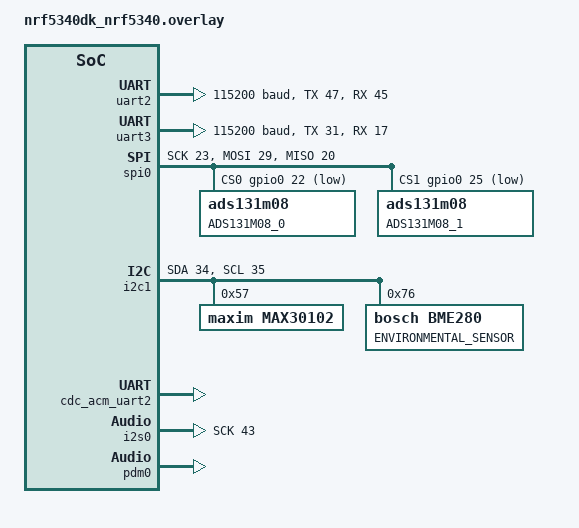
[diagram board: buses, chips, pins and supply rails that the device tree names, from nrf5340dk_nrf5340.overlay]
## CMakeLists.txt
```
# SPDX-License-Identifier: Apache-2.0

cmake_minimum_required(VERSION 3.17.0)

set(DTC_OVERLAY_FILE "nrf5340dk_nrf5340.overlay")

find_package(Zephyr REQUIRED HINTS $ENV{ZEPHYR_BASE})
project(hello_world)

FILE(GLOB app_sources src/*.c*)
target_sources(app PRIVATE ${app_sources})

target_include_directories(app PRIVATE
    include
    include/Transports)

set_property(TARGET app PROPERTY CXX_STANDARD 17)    
```

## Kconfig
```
# SPDX-License-Identifier: Proprietary

mainmenu "Application"

    config NUM_TLCS
        int "Number of chained TLC drivers"
        default 1
        range 1 8

    config UART_RX_TX_BUF_SZ
        int "The size of RP2040 UART RX buffer"
        default 32
        range 1 256

    config UART_RX_TOUT_US
        int "UART RX timeout in milliseconds"
        default 100000

    config USE_ADS131M08
        bool "Include the ADS131M08 sensors in compilation"
        default n

    config USE_BME280
        bool "Include the BME280 sensor in compilation"
        default n
        select USE_USB
        select SENSOR
        select BME280      

    config USE_MAX30102
        bool "Include the MAX30102 sensor in compilation"
        default n
        select USE_USB

    config USE_MPU6050
        bool "Include the MPU6050 sensor in compilation"
        default n
        select USE_USB 

    config USE_QMC5883L
        bool "Include the QMC5883L sensor in compilation"
        default n  
        select USE_USB

    config USE_TLC5940
        bool "Include the TLC5940 sensor in compilation"
        default n

    config USE_DMIC
        bool "Include the Digital Microphone in compilation"
        default n  

    config USE_I2S
        bool "Include the I2S driver for controlling MAX98357A Class D audio amplifier"
        default n          

    config USE_USB
        bool "Include the USB driver for sending sensor samples over USB"
        default n 

    config USE_MCU2MCU
        bool "Include the UART driver for communication with RP2040"
        default n    

source "Kconfig.zephyr"
```

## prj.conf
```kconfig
CONFIG_INIT_STACKS=y
CONFIG_THREAD_STACK_INFO=y
CONFIG_MAIN_STACK_SIZE=2048
CONFIG_SYSTEM_WORKQUEUE_STACK_SIZE=4096
CONFIG_BT_RX_STACK_SIZE=4096

# PWM
#CONFIG_PWM=y
#CONFIG_PWM_NRF5_SW=n
#CONFIG_PWM_NRFX=y

CONFIG_GPIO=y
CONFIG_I2C=y
CONFIG_SPI=y
#CONFIG_SPI_0=y

# choose UART console
CONFIG_UART_CONSOLE=y

# Debug config
CONFIG_LOG=y
CONFIG_LOG_DEFAULT_LEVEL=3
# RTT Viewer
CONFIG_USE_SEGGER_RTT=y
CONFIG_LOG_BACKEND_RTT=y
CONFIG_RTT_CONSOLE=y
CONFIG_SEGGER_RTT_BUFFER_SIZE_UP=4096
#CONFIG_LOG_BACKEND_RTT_MODE_DROP=y
CONFIG_LOG_PRINTK=y

# BLE
CONFIG_BT=y
#CONFIG_BT_DEBUG_LOG=y
CONFIG_BT_PERIPHERAL=y
CONFIG_BT_CENTRAL=y
CONFIG_BT_DEVICE_NAME="BT40"
CONFIG_BT_GATT_CLIENT=y
CONFIG_BT_HCI_ACL_FLOW_CONTROL=y
CONFIG_BT_USER_PHY_UPDATE=y
CONFIG_BT_CTLR_PHY_2M=y
CONFIG_BT_CTLR_PHY_CODED=n
CONFIG_BT_ATT_PREPARE_COUNT=10
CONFIG_BT_CONN_TX_MAX=10
CONFIG_BT_L2CAP_TX_BUF_COUNT=10
CONFIG_BT_BUF_ACL_TX_SIZE=250
CONFIG_BT_BUF_ACL_RX_SIZE=250
CONFIG_BT_L2CAP_TX_MTU=250

# C++
CONFIG_CPLUSPLUS=y
CONFIG_LIB_CPLUSPLUS=y
CONFIG_NEWLIB_LIBC=y
#if  printf should be able to print float
CONFIG_NEWLIB_LIBC_FLOAT_PRINTF=y

# Sensors are plug-and-play and will be skipped if undetected.

#ADS131M08
CONFIG_USE_ADS131M08=y

#MAX30102
CONFIG_USE_MAX30102=y

#MPU6050
CONFIG_USE_MPU6050=y

#QMC
CONFIG_USE_QMC5883L=y


#BME280
CONFIG_USE_BME280=y

#UART TX/RX on custom pins to another microcontroller (RP2040 in our example)
CONFIG_USE_MCU2MCU=y

#TLC5940 LED Driver
# CONFIG_USE_TLC5940=y


#I2S AudioModule
#CONFIG_I2S=y
#CONFIG_USE_I2S=y

# Digital Microphone (DMIC) Module
#CONFIG_AUDIO=y
#CONFIG_USE_DMIC=y

# For FFT implementation
CONFIG_CMSIS_DSP=y
CONFIG_CMSIS_DSP_TRANSFORM=y
CONFIG_CMSIS_DSP_COMPLEXMATH=y
CONFIG_NEWLIB_LIBC=y
CONFIG_FPU=y

#USB transfer
CONFIG_USB_DEVICE_STACK=y #set to y if using usb
CONFIG_USB_DEVICE_PRODUCT="BT40"
# CONFIG_USB_DRIVER_LOG_LEVEL_ERR=y
# CONFIG_USB_DEVICE_LOG_LEVEL_ERR=y
CONFIG_SERIAL=y
# CONFIG_UART_CONSOLE=y
CONFIG_CONSOLE=n
CONFIG_UART_LINE_CTRL=y
CONFIG_UART_ASYNC_API=y
#CONFIG_UART_INTERRUPT_DRIVEN=y

CONFIG_HEAP_MEM_POOL_SIZE=2048

#Enable/Include Sensors. The sensor should be included with setting
# CONFIG_USE_SENSOR_NAME flag to y. For example: CONFIG_USE_BME280=y
# See Kconfig file for the full list of supported sensors

# Needed for FOTA
########################################################
# Enable mcumgr.
CONFIG_MCUMGR=y

# Ensure an MCUboot-compatible binary is generated.
CONFIG_BOOTLOADER_MCUBOOT=y
#CONFIG_NCS_SAMPLE_MCUMGR_BT_OTA_DFU=y

# Enable most core commands.
CONFIG_MCUMGR_CMD_IMG_MGMT=y
CONFIG_MCUMGR_CMD_OS_MGMT=y

# MCUboot log level
CONFIG_MCUBOOT_UTIL_LOG_LEVEL_WRN=y

# Allow for large Bluetooth data packets.
CONFIG_BT_L2CAP_TX_MTU=252
CONFIG_BT_BUF_ACL_RX_SIZE=256

# Enable the Bluetooth (unauthenticated) and shell mcumgr transports.
CONFIG_MCUMGR_SMP_BT=y
CONFIG_MCUMGR_SMP_BT_AUTHEN=n
CONFIG_MCUMGR_SMP_BT_CONN_PARAM_CONTROL=y
########################################################
```

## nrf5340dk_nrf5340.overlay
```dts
// To get started, press Ctrl+Space to bring up the completion menu and view the available nodes.
// For more help, browse the DeviceTree documentation at https: //docs.zephyrproject.org/latest/guides/dts/index.html

//NOTE gpio 1.xx are formatted as 32 + xx; e.g. 1.00 is 32, 1.10 is 42

/ {
    
    aliases {
        //pwmadc = &pwm_dev0;
        //tlc = &tlc5940;
    };

    //pwmdevs {
    //    compatible = "pwm-leds";
    //    pwm_dev0: pwm_dev_0 {
    //        pwms = <&pwm0 33>;
    //    };
    //};

    // tlc5940: tlc5940_node {
    //     // compatible = "gpio-leds";
    //     tlc-gpios = <&gpio1 0 GPIO_ACTIVE_HIGH>, /* output pin, GSCLK */
    //                 <&gpio1 1 GPIO_ACTIVE_HIGH>, /* output pin, XLAT */
    //                 <&gpio1 4 GPIO_ACTIVE_HIGH>, /* output pin, BLANK */
    //                 <&gpio1 5 GPIO_ACTIVE_HIGH>, /* output pin, SIN */
    //                 <&gpio1 6 GPIO_ACTIVE_HIGH>; /* output pin, SCLK */
    //     status = "okay";
    // };

};

// &pwm0 {
// 	status = "okay";
// 	ch0-pin = <33>;
// 	//ch0-inverted;
// };

&uart0 {
    status = "disabled";
};

&uart1 {
    status = "disabled";
};

&uart2 {
    status = "okay";
    current-speed = <115200>;
    tx-pin = <47>;
    rx-pin = <45>;
    rts-pin = <0xFFFFFFFF>;
    cts-pin = <0xFFFFFFFF>;
};

&uart3 {
    status = "okay";
    compatible = "nordic,nrf-uarte";
    current-speed = <115200>;
    tx-pin = <31>;
    rx-pin = <17>;
    rts-pin = <0xFFFFFFFF>;
    cts-pin = <0xFFFFFFFF>;
};

&spi0 {
    compatible = "nordic,nrf-spim";
    status = "okay";
    sck-pin = <23>;
    mosi-pin = <29>; //DIN
    miso-pin = <20>; //DOUT
    cs-gpios = <&gpio0 22 GPIO_ACTIVE_LOW>, <&gpio0 25 GPIO_ACTIVE_LOW>;

    ads131m08_0: ads131m08@0 {
        status = "okay";
        reg = <0>;
        label = "ADS131M08_0";
    };

    ads131m08_1: ads131m08@1 {
        status = "okay";
        reg = <1>;
        label = "ADS131M08_1";
    };
};

&spi1 {
    status = "disabled";
};

&spi2 {
    status = "disabled";
};

&i2c0 {
    status = "disabled";
};

&i2c1 {
    status = "okay";
    sda-pin = <34>;
    scl-pin = <35>;
    max30102@57 {
        compatible = "maxim,max30102";
        label = "MAX30102";
        reg = <0x57>;
        mode = <2>;
        status = "okay";
    };
    bme280: bme280@76 {
        /* 0x76 - SDO <-> GND */
        /* 0x77 - SDO <-> VCC */
        compatible = "bosch,bme280";
        reg = <0x76>;
        label = "ENVIRONMENTAL_SENSOR";
    };
};

&zephyr_udc0 {
    cdc_acm_uart2 {
        compatible = "zephyr,cdc-acm-uart";
        label = "CDC_ACM_0";
    };
};

&clock {
    hfclkaudio-frequency = <11289600>;
};

i2s_rxtx: &i2s0 {
    status = "okay";
    sck-pin =   <43>; 
    lrck-pin =  <8>; 
    sdout-pin = <44>;
    sdin-pin =  <46>; 
    clock-source = "ACLK";
};

dmic_dev: &pdm0 {
	status = "okay";
	clk-pin = <40>; 
	din-pin = <13>; 
	clock-source = "ACLK";
};
```

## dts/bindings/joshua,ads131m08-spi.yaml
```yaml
description: ADS131M08 8-channel 24-bit Analog-to-Digital Converter

compatible: "joshua,ads131m08"

include: spi-device.yaml

properties:
  drdy-gpios:
    type: phandle-array
    description: |
      GPIO for data ready, becomes active when a conversion result is ready.

  sync-gpios:
    type: phandle-array
    description: |
      SYNC/RESET pin.
```

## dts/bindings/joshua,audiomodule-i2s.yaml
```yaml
description: Audio Module on I2S bus

compatible: "joshua,audiomodule"

include: i2s-device.yaml
```

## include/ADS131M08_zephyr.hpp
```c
#pragma once

#include <zephyr/types.h>
#include <zephyr/device.h>
#include <zephyr/drivers/gpio.h>
#include <zephyr/drivers/spi.h>
#include <zephyr/sys/util.h>
#include <zephyr/sys/atomic.h>

#define ADS131_ID 0x00
#define ADS131_STATUS 0x01
#define ADS131_MODE 0x02
#define ADS131_CLOCK 0x03
#define ADS131_GAIN1 0x04
#define ADS131_GAIN2 0x05
#define ADS131_CFG 0x06
#define ADS131_THRSHLD_MSB 0x07
#define ADS131_THRSHLD_LSB 0x08

#define ADS131_CH0_CFG 0x09
#define ADS131_CH0_OCAL_MSB 0x0A
#define ADS131_CH0_OCAL_LSB 0x0B
#define ADS131_CH0_GCAL_MSB 0x0C
#define ADS131_CH0_GCAL_LSB 0x0D
#define ADS131_CH1_CFG 0x0E
#define ADS131_CH1_OCAL_MSB 0x0F
#define ADS131_CH1_OCAL_LSB 0x10
#define ADS131_CH1_GCAL_MSB 0x11
#define ADS131_CH1_GCAL_LSB 0x12
#define ADS131_CH2_CFG 0x13
#define ADS131_CH2_OCAL_MSB 0x14
#define ADS131_CH2_OCAL_LSB 0x15
#define ADS131_CH2_GCAL_MSB 0x16
#define ADS131_CH2_GCAL_LSB 0x17
#define ADS131_CH3_CFG 0x18
#define ADS131_CH3_OCAL_MSB 0x19
#define ADS131_CH3_OCAL_LSB 0x1A
#define ADS131_CH3_GCAL_MSB 0x1B
#define ADS131_CH3_GCAL_LSB 0x1C
#define ADS131_CH4_CFG 0x1D
#define ADS131_CH4_OCAL_MSB 0x1E
#define ADS131_CH4_OCAL_LSB 0x1F
#define ADS131_CH4_GCAL_MSB 0x20
#define ADS131_CH4_GCAL_LSB 0x21
#define ADS131_CH5_CFG 0x22
#define ADS131_CH5_OCAL_MSB 0x23
#define ADS131_CH5_OCAL_LSB 0x24
#define ADS131_CH5_GCAL_MSB 0x25
#define ADS131_CH5_GCAL_LSB 0x26
#define ADS131_CH6_CFG 0x27
#define ADS131_CH6_OCAL_MSB 0x28
#define ADS131_CH6_OCAL_LSB 0x29
#define ADS131_CH6_GCAL_MSB 0x2A
#define ADS131_CH6_GCAL_LSB 0x2B
#define ADS131_CH7_CFG 0x2C
#define ADS131_CH7_OCAL_MSB 0x2D
#define ADS131_CH7_OCAL_LSB 0x2E
#define ADS131_CH7_GCAL_MSB 0x2F
#define ADS131_CH7_GCAL_LSB 0x30


#define ADS131_REGMAP_CRC 0x3E
#define ADS131_RESERVED 0x3F

#define ADS131_READ 0x0A
#define ADS131_WRITE 0x06

class ADS131M08 {
    public:

    //SPIClass * spi = NULL; // SPISettings(spiClk, MSBFIRST, SPI_MODE1)
    int CS, XTAL, DRDY;
    int SpiClk;
    bool firstRead = true;
    uint8_t nWordsInFrame = 10; //< Normal frame contains 10 Words 
    uint8_t nBytesInWord = 3;   //< 24-bit Word by default
    // Dummy word frame to write ADC during ADC data reads
    
    ADS131M08();
    void init(uint8_t cs_pin, uint8_t drdy_pin, uint8_t sync_rst_pin, uint32_t spi_frequency);
    uint16_t readReg(uint8_t reg);
    bool writeReg(uint8_t reg, uint16_t data);
    bool setGain(uint8_t gain);
    void readAllChannels(uint8_t * data_buffer);

#if 0    
    void readChannels(int8_t * channelArrPtr, int8_t channelArrLen, int32_t * outputArrPtr);
    void readAllChannels(int32_t inputArr[8]);
    int32_t readChannelSingle(int8_t channel);
    bool globalChop(bool enabled, uint8_t log2delay);
    bool writeReg(uint8_t reg, uint16_t data);
    uint16_t readReg(uint8_t reg);
    bool setGain(int gain);
    uint32_t spiTransferWord(uint16_t inputData = 0x0000);
    void spiCommFrame(uint32_t * outPtr, uint16_t command = 0x0000);
    int32_t twoCompDeco(uint32_t data);
#endif

private:
    //uint32_t spiTransferWord(uint16_t inputData = 0x0000);
    void spiCommandFrame(uint8_t frame_size, uint8_t *cmdFrame);
    uint16_t spiResponseFrame(uint8_t frame_size);
    void spiDataFrame(uint8_t frame_size, uint8_t *data_buffer);
    
    //void ads131m08_drdy_cb(const struct device *port, struct gpio_callback *cb, gpio_port_pins_t pins);           ///< Callback function to call when data ready 
    std::atomic<int> deviceStatus = 0;  ///< SPI Device status
    const device *spiDevice = nullptr;  ///< Logical SPI device
    const device *gpioDevice = nullptr; ///< Device for GPIOs (DRDY and SYNC/RESET)
    struct gpio_callback callback;      ///< 
    struct spi_cs_control csConfig;     ///< Chip select config
    struct spi_config spiConfig;        ///< SPI transport config
};


#if 0
#ifndef ADS131M08_H
#define ADS131M08_H
//ADS131M08.cpp LGPL 
//Adapted for the 8 channel device from https://github.com/icl-rocketry/ADS131M04-Lib (LGPL)


/* Definitions of all the addresses of the registers of the ADS131M04
   Chip. For the content of the registers, please refer to the datasheet:

   https://www.ti.com/lit/gpn/ads131m04

   Written by Imperial College London Rocketry
   Electronics subteam
*/

#include <zephyr/types.h>
#include <device.h>
#include <drivers/gpio.h>
#include <drivers/spi.h>
#include <sys/util.h>

#define ADS131_ID 0x00
#define ADS131_STATUS 0x01
#define ADS131_MODE 0x02
#define ADS131_CLOCK 0x03
#define ADS131_GAIN1 0x04
#define ADS131_GAIN2 0x05
#define ADS131_CFG 0x06
#define ADS131_THRSHLD_MSB 0x07
#define ADS131_THRSHLD_LSB 0x08

#define ADS131_CH0_CFG 0x09
#define ADS131_CH0_OCAL_MSB 0x0A
#define ADS131_CH0_OCAL_LSB 0x0B
#define ADS131_CH0_GCAL_MSB 0x0C
#define ADS131_CH0_GCAL_LSB 0x0D
#define ADS131_CH1_CFG 0x0E
#define ADS131_CH1_OCAL_MSB 0x0F
#define ADS131_CH1_OCAL_LSB 0x10
#define ADS131_CH1_GCAL_MSB 0x11
#define ADS131_CH1_GCAL_LSB 0x12
#define ADS131_CH2_CFG 0x13
#define ADS131_CH2_OCAL_MSB 0x14
#define ADS131_CH2_OCAL_LSB 0x15
#define ADS131_CH2_GCAL_MSB 0x16
#define ADS131_CH2_GCAL_LSB 0x17
#define ADS131_CH3_CFG 0x18
#define ADS131_CH3_OCAL_MSB 0x19
#define ADS131_CH3_OCAL_LSB 0x1A
#define ADS131_CH3_GCAL_MSB 0x1B
#define ADS131_CH3_GCAL_LSB 0x1C
#define ADS131_CH4_CFG 0x1D
#define ADS131_CH4_OCAL_MSB 0x1E
#define ADS131_CH4_OCAL_LSB 0x1F
#define ADS131_CH4_GCAL_MSB 0x20
#define ADS131_CH4_GCAL_LSB 0x21
#define ADS131_CH5_CFG 0x22
#define ADS131_CH5_OCAL_MSB 0x23
#define ADS131_CH5_OCAL_LSB 0x24
#define ADS131_CH5_GCAL_MSB 0x25
#define ADS131_CH5_GCAL_LSB 0x26
#define ADS131_CH6_CFG 0x27
#define ADS131_CH6_OCAL_MSB 0x28
#define ADS131_CH6_OCAL_LSB 0x29
#define ADS131_CH6_GCAL_MSB 0x2A
#define ADS131_CH6_GCAL_LSB 0x2B
#define ADS131_CH7_CFG 0x2C
#define ADS131_CH7_OCAL_MSB 0x2D
#define ADS131_CH7_OCAL_LSB 0x2E
#define ADS131_CH7_GCAL_MSB 0x2F
#define ADS131_CH7_GCAL_LSB 0x30


#define ADS131_REGMAP_CRC 0x3E
#define ADS131_RESERVED 0x3F

#define ADS131_READ 0x0A
#define ADS131_WRITE 0x06


class ADS131M08 {
    public:

    SPIClass * spi = NULL; // SPISettings(spiClk, MSBFIRST, SPI_MODE1)
    int CS, XTAL, DRDY;
    int SpiClk;
    bool firstRead = true;
    int nFrameWords = 10;
    // Dummy word frame to write ADC during ADC data reads
    
    //arduino
    ADS131M08(int cs=5, int xtal=22, int drdy=21, int clk = 2000000);
    void init(int clkin = 8192000);
    void readChannels(int8_t * channelArrPtr, int8_t channelArrLen, int32_t * outputArrPtr);
    void readAllChannels(int32_t inputArr[8]);
    int32_t readChannelSingle(int8_t channel);
    bool globalChop(bool enabled, uint8_t log2delay);
    bool writeReg(uint8_t reg, uint16_t data);
    uint16_t readReg(uint8_t reg);
    bool setGain(int gain);
    uint32_t spiTransferWord(uint16_t inputData = 0x0000);
    void spiCommFrame(uint32_t * outPtr, uint16_t command = 0x0000);
    int32_t twoCompDeco(uint32_t data);
    
    //zephyr
    struct device *dev;
    struct spi_dt_spec spi;
    struct gpio_dt_spec interrupt;
};

#endif

#endif
```

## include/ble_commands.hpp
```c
#pragma once

#include <stddef.h>

/**
 * @brief The set of various BLE commands for different purposes
 */
enum class BleCommand : uint8_t
{
    StartSampling = 0x01,       ///< Start taking samples from the sensor
    StopSampling = 0x02,       ///< Stop taking samples from the sensor
};
```

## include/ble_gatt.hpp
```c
#pragma once

#include <functional>

#include <zephyr/bluetooth/gatt.h>
#include <zephyr/sys/atomic.h>

#include "ble_types.hpp"
#include "commandid.hpp"

namespace Bluetooth::Gatt
{

    /**
     * @brief State of the ADS131M08 Notifications.
     */
    extern atomic_t ads131m08NotificationsEnable;

    /**
     * @brief State of the ADS131M08_1 Notifications.
     */
    extern atomic_t ads131m08_1_NotificationsEnable;

    /**
     * @brief State of the MAX30102 Notifications.
     */
    extern atomic_t max30102NotificationsEnable;

    /**
     * @brief State of the MPU6050 Notifications.
     */
    extern atomic_t mpu6050NotificationsEnable;

    /**
     * @brief State of the MPU6050 Notifications.
     */
    extern atomic_t bme280NotificationsEnable;

    /**
     * @brief State of the RSSI Notifications.
     */
    extern atomic_t rssiNotificationsEnable;

    /**
     * @brief State of the Qmc5883l Notifications.
     */
    extern atomic_t qmc5883lNotificationsEnable;

    /**
     * @brief State of the iBeacons Notifications.
     */
    extern atomic_t iBeaconNotificationsEnable;

    /**
     * @brief GATT service
     */
    extern const bt_gatt_service_static bt832a_svc;

    /**
     * @brief Index of the Gatt ADS131M08 Data characteristic in service characteristic table
     */
    constexpr static int CharacteristicAds131Data = 4;

    /**
     * @brief Index of the Gatt MAX30102 Data characteristic in service characteristic table
     */
    constexpr static int CharacteristicMax30102Data = 7;

    /**
     * @brief Index of the Gatt MPU6050 Data characteristic in service characteristic table
     */
    constexpr static int CharacteristicMpu6050Data = 10;

    /**
     * @brief Index of the Gatt ADS131M08 Data characteristic in service characteristic table
     */
    constexpr static int CharacteristicAds131_1_Data = 13;

    /**
     * @brief Index of the Gatt ADS131M08 Data characteristic in service characteristic table
     */
    constexpr static int CharacteristicBme280Data = 16;

    /**
     * @brief Index of the Gatt RSSI Data characteristic in service characteristic table
     */
    constexpr static int CharacteristicRssiData = 19;    

    /**
     * @brief Index of the Gatt Qmc5883l Data characteristic in service characteristic table
     */
    constexpr static int CharacteristicQmc5883lData = 22;

    /**
     * @brief Index of the Gatt iBeacon Data characteristic in service characteristic table
     */
    constexpr static int CharacteristiciBeaconData = 25;

    /**
     * @brief Callback called when Bluetooth is initialized. Starts BLE server
     * 
     * @param err bluetooth initialization error code
     */
    void OnBluetoothStarted(int err);

    /**
     * @brief Start scanning for iBeacon devices
     * 
     */
    void StartBeaconScanning(void);

    /**
     * @brief Stop scanning for iBeacon devices
     * 
     */
    void StopBeaconScanning(void);

    /**
     * @brief Register Control callback
     * 
     * @param commandId command ID
     * @param action Action to call when command ith commandId is received via BLE
     */
    void GattSetControlCallback(CommandId commandId, BleControlAction&& action);
}
```

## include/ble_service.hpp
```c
#pragma once

#include <functional>

namespace Bluetooth
{
    /**
     * @brief Function used to setup BLE Service
     * 
     * @return BLE error code 
     */
    int SetupBLE();

    /**
     * @brief Send BLE notification through ADS131M08 Data Pipe.
     * 
     * @param data pointer to datasource containing ADS131M08 data samples
     * @param len  the number of samples to transfer
     */
    void Ads131m08Notify(const uint8_t* data, const uint8_t len);

    /**
     * @brief Send BLE notification through ADS131M08_1 Data Pipe.
     * 
     * @param data pointer to datasource containing ADS131M08 data samples
     * @param len  the number of samples to transfer
     */
    void Ads131m08_1_Notify(const uint8_t* data, const uint8_t len);

    /**
     * @brief Send BLE notification through MAX30102 Data Pipe.
     * 
     * @param data pointer to datasource containing MAX30102 data samples
     * @param len  the number of samples to transfer
     */
    void Max30102Notify(const uint8_t* data, const uint8_t len);

    /**
     * @brief Send BLE notification through MPU6050 Data Pipe.
     * 
     * @param data pointer to datasource containing MPU6050 data samples
     * @param len  the number of samples to transfer
     */
    void Mpu6050Notify(const uint8_t* data, const uint8_t len);

    /**
     * @brief Send BLE notification through BME280 Data Pipe.
     * 
     * @param data pointer to datasource containing BME280 data samples
     * @param len  the number of samples to transfer
     */
    void Bme280Notify(const uint8_t* data, const uint8_t len);

    /**
     * @brief Start taking signal strength (RSSI) values
     * @param rssi pointer to signal strength value
     */
    void read_conn_rssi(int8_t *rssi);

    /**
     * @brief Start taking signal strength (RSSI) values
     */
    void RssiStartSampling();
    
    /**
     * @brief Stop taking signal strength (RSSI) values
     */
    void RssiStopSampling();
}
```

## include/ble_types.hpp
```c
#pragma once

#include <functional>
#include <bluetooth/bluetooth.h>

namespace Bluetooth
{
    /**
     * @brief Structure to contain Ble Length. Acts as strong typedef
     */
    struct BleLength
    {
        uint16_t value;
    };

    static_assert(sizeof(BleLength) == sizeof(uint16_t));

    /**
     * @brief Structure to contain Ble Offset. Acts as strong typedef
     */
    struct BleOffset
    {
        uint16_t value;
    };

    static_assert(sizeof(BleOffset) == sizeof(uint16_t));

    /**
     * @brief Structure to hold Command Key field. Acts as a strong typedef
     */
    struct CommandKey
    {
        uint8_t key[2];    
    };

    /**
     * @brief Structure to hold the iBeacon details
     */
    struct iBeacon
    {
        uint8_t  addr[BT_ADDR_SIZE];
        int8_t rssi;
        uint8_t uuid[16];
        uint8_t major[2];
        uint8_t minor[2];
        int8_t tx_pwr;
    };

    static_assert(sizeof(CommandKey) == sizeof(uint16_t));


    /**
     * @brief Ble action type
     */
    using BleControlAction = std::function<bool(const uint8_t*, CommandKey, BleLength, BleOffset)>;

}
```

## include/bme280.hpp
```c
#pragma once

#include <zephyr/kernel.h>
#include <zephyr/device.h>
#include <zephyr/devicetree.h>
#include <zephyr/drivers/sensor.h>
#include <zephyr/sys/atomic.h>
#include <stdlib.h>
#include <zephyr/logging/log.h>

#include "ble_service.hpp"
#include "usb_comm_handler.hpp"
#include "ble_types.hpp"
#include "ble_commands.hpp"

class UsbCommHandler;

namespace
{
    constexpr static int stackSize = 1024;           ///< Worker thread size
    constexpr static int taskPriority = 7;           ///< Worker thread priority
    K_THREAD_STACK_DEFINE(pollStackArea, stackSize); ///< Worker thread stack

struct bme280_data {
	/* Compensation parameters. */
	uint16_t dig_t1;
	int16_t dig_t2;
	int16_t dig_t3;
	uint16_t dig_p1;
	int16_t dig_p2;
	int16_t dig_p3;
	int16_t dig_p4;
	int16_t dig_p5;
	int16_t dig_p6;
	int16_t dig_p7;
	int16_t dig_p8;
	int16_t dig_p9;
	uint8_t dig_h1;
	int16_t dig_h2;
	uint8_t dig_h3;
	int16_t dig_h4;
	int16_t dig_h5;
	int8_t dig_h6;

	/* Compensated values. */
	int32_t comp_temp;
	uint32_t comp_press;
	uint32_t comp_humidity;

	/* Carryover between temperature and pressure/humidity compensation. */
	int32_t t_fine;

	uint8_t chip_id;
};    
}

/**
 * @brief Bme280 driver
 */
class Bme280 {   
  
    constexpr static auto pollPeriod = 300;  ///< BME280 polling period in milliseconds
    constexpr static uint8_t bme280_id = 0x60;
    constexpr static uint8_t bmp280_id_sample_1 = 0x56;
    constexpr static uint8_t bmp280_id_sample_2 = 0x57;
    constexpr static uint8_t bmp280_id_mp = 0x58;

public:
    /**
     * @brief Construct a new Bme280 object
     */
    Bme280(UsbCommHandler &controller);

    /**
     * @brief Initialization function. Used to perform actual initialization. Because of software stack initialization
     * could not be done in constructor
     * @return Status, 0 for no errors
     */
    int Initialize();    

    /**
     * @brief Start taking BME280 samples (ambient tempeature, pressure, himidity)
     */
    void StartSampling();    

    /**
     * @brief Stop taking BME280 samples (ambient tempeature, pressure, himidity)
     */
    void StopSampling();

    /**
     * @brief Check if either BME280 or BMP280 device is connected to I2C bus
     * @return TRUE if either of BME280 or BMP280 is on the bus, FALSE otherwise
     */
    bool BmX280IsOnI2cBus(); 

    /**
     * @brief Check if BME280 device is connected to I2C bus
     * @return TRUE if BME280 is on the bus, FALSE otherwise
     */
    bool Bme280IsOnI2cBus(); 

private:
    /**
     * @brief Main working thread. Used to perform accelerometer polling.
     * Due possible blocking during accelerometer measurments reading
     * it required a separate stack to not break main BLE stack state machine
     * 
     * @param data pointer to this
     */
    static void WorkingThread(void *data, void *, void *){
        Bme280 *self = static_cast<Bme280 *>(data);
        int ret = 0;        
        self->tx_buf[0] = self->bmx_id;

        for (;;)
        {
            k_sem_take(&self->pollSemaphore, K_FOREVER);

            ret = sensor_sample_fetch(self->bme280_dev);
            ret += sensor_channel_get(self->bme280_dev, SENSOR_CHAN_AMBIENT_TEMP, &self->temperature_channel);
            ret += sensor_channel_get(self->bme280_dev, SENSOR_CHAN_PRESS, &self->pressure_channel);
		    
            if(self->Bme280IsOnI2cBus()){ // If BME280 is on I2C Buss
               ret += sensor_channel_get(self->bme280_dev, SENSOR_CHAN_HUMIDITY, &self->humidity_channel);

                if (ret == 0){
                    memcpy((self->tx_buf + 24*self->sample_cnt + 2), &self->temperature_channel.val1, sizeof(self->temperature_channel));
                    memcpy((self->tx_buf + 24*self->sample_cnt + 10), &self->pressure_channel.val1, sizeof(self->pressure_channel));
                    memcpy((self->tx_buf + 24*self->sample_cnt + 18), &self->humidity_channel.val1, sizeof(self->humidity_channel));

                    self->sample_cnt++;

                    if(self->sample_cnt == 3){
                        self->sample_cnt = 0;
                        self->tx_buf[1] = self->packet_cnt;
                        self->packet_cnt++;
                        self->serialHandler.SendBme280Samples(self->tx_buf, 74);
                        Bluetooth::Bme280Notify(self->tx_buf, 74); 
                    }
                } else {

                }           
            } else {  // BMP280 is on the bus. Don't fetch Humidity data.
                if (ret == 0){
                    memcpy((self->tx_buf + 16*self->sample_cnt + 2), &self->temperature_channel.val1, sizeof(self->temperature_channel));
                    memcpy((self->tx_buf + 16*self->sample_cnt + 10), &self->pressure_channel.val1, sizeof(self->pressure_channel));

                    self->sample_cnt++;

                    if(self->sample_cnt == 3){
                        self->sample_cnt = 0;
                        self->tx_buf[1] = self->packet_cnt;
                        self->packet_cnt++;
                        self->serialHandler.SendBme280Samples(self->tx_buf, 50);
                        Bluetooth::Bme280Notify(self->tx_buf, 50); 
                    }
                } else {

                }           
            }

        }
    }

    /**
     * @brief Reset Bme280 device
     */
    void Reset();

    /**
     * @brief Get a device structure from a devicetree node with compatible
     * "bosch,bme280". (If there are multiple, just pick one.)
     */
    const struct device * get_bme280_device(void);

    /**
     * @brief Shutdown Bme280 device
     */
    void Shutdown();

    /**
     * @brief Wakeup Bme280 device
     */
    void Wakeup();

    /**
     * @brief Read ID register and figure out whether we have BMP280 or BME280 on I2C bus
     */
    void GetChipId(const struct device *dev);

    /**
     * @brief Called when trigger mode is received via BLE
     * 
     * @param buffer receviced buffer
     * @param length buffer length
     * @param offset data offset
     * 
     * @return true if command was processed succesfully
     */
    bool OnBleCommand(const uint8_t* buffer, Bluetooth::CommandKey key, Bluetooth::BleLength length, Bluetooth::BleOffset offset);

    /**
     * @brief Timer handler. Used to queue Reading of the BME280 data.
     * 
     * @param tmr timer object
     * @warning Called at ISR Level, no actual workload should be implemented here
     */
    static void TimerHandler(k_timer *tmr){
        Bme280 *self = CONTAINER_OF(tmr, Bme280, timer);
        k_sem_give(&self->pollSemaphore);
    }

    struct bme280_data * ToData(const struct device *dev);

    const struct device * bme280_dev;
    uint8_t bmx_id; 
    uint8_t sample_cnt;
    uint8_t packet_cnt;
    std::atomic<bool> bme280_is_on_i2c_bus_; ///< Device status
    std::atomic<bool> bmp280_is_on_i2c_bus_; ///< Device status
    UsbCommHandler &serialHandler; ///< USB communication controller
    uint8_t tx_buf[73] = {};
    k_timer timer;       ///< Timer object
    k_sem pollSemaphore; ///< Semaphore used to accelerometer polling
    k_thread worker;     ///< Worker thread
    struct sensor_value temperature_channel; ///< Value taken from one of the BME280 ambient temperature channel
    struct sensor_value pressure_channel; ///< Value taken from one of the BME280 pressure channel
    struct sensor_value humidity_channel; ///< Value taken from one of the BME280 humidity channel
};
```

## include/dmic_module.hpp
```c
#pragma once

#include <string.h>
#include <nrf.h>
#include <kernel.h>

#include <zephyr/types.h>
#include <device.h>
#include <drivers/gpio.h>

#include <sys/util.h>
#include <atomic>
#include "ble_types.hpp"
#include "ble_commands.hpp"
#include "device_string.hpp"

/*************************/
#include <zephyr.h>
#include <device.h>
#include <audio/dmic.h>
#include "arm_math.h"
#include "dsp/transform_functions.h"

#include <logging/log.h>
#include <sys/printk.h>

#define MAX_SAMPLE_RATE  16000
#define SAMPLE_BIT_WIDTH 16
#define BYTES_PER_SAMPLE sizeof(int16_t)
/* Milliseconds to wait for a block to be read. */
#define READ_TIMEOUT     1000

#define FFT_LENGTH 32

/* Size of a block for 100 ms of audio data. */
#define BLOCK_SIZE(_sample_rate, _number_of_channels) \
	(BYTES_PER_SAMPLE * (_sample_rate / 10) * _number_of_channels)

/* Driver will allocate blocks from this slab to receive audio data into them.
 * Application, after getting a given block from the driver and processing its
 * data, needs to free that block.
 */
#define MAX_BLOCK_SIZE   BLOCK_SIZE(MAX_SAMPLE_RATE, 1)
#define BLOCK_COUNT      8

namespace
{
    constexpr static int stackSizeDmic = 2048;           ///< Worker thread size
    constexpr static int taskPriorityDmic = 1;           ///< Worker thread priority
    K_THREAD_STACK_DEFINE(pollStackAreaDmic, stackSizeDmic); ///< Worker thread stack
} // namespace

/**
 * @brief DmicModule driver
 */
class DmicModule {
    
public:
    /**
     * @brief Construct a new DmicModule object
     */
    DmicModule();

    /**
     * @brief Initialization function. Used to perform actual initialization. Because of software stack initialization
     * could not be done in constructor
     * @return Status, 0 for no errors
     */
    int Initialize();

    /**
     * @brief Start taking Audio samples
     */
    int StartSampling();

    /**
     * @brief Stop taking Audio samples
     */
    int StopSampling();

private:
    /**
     * @brief Called when trigger mode is received via BLE
     * 
     * @param buffer receviced buffer
     * @param length buffer length
     * @param offset data offset
     * 
     * @return true if command was processed succesfully
     */
    bool OnBleCommand(const uint8_t* buffer, Bluetooth::CommandKey key, Bluetooth::BleLength length, Bluetooth::BleOffset offset);
    int do_pdm_transfer(const struct device *dmic_dev, struct dmic_cfg *cfg, size_t block_count);

    static void WorkingThreadDmic(void *data, void *, void *);
    k_thread worker;     ///< Worker thread
    void *mem_blocks;
    const struct device* dmic_dev; ///< Logical device
};
```

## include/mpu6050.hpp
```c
#pragma once

#include <zephyr/types.h>
#include <device.h>
#include <drivers/gpio.h>
//#include <drivers/i2c.h>
#include <sys/util.h>
#include <atomic>
#include "i2c_transport.hpp"
#include "device_string.hpp"

class UsbCommHandler;

#define MPU6050_ADDRESS_AD0_LOW     0x68 // address pin low (GND), default for InvenSense evaluation board
#define MPU6050_ADDRESS_AD0_HIGH    0x69 // address pin high (VCC)
#define MPU6050_DEFAULT_ADDRESS     MPU6050_ADDRESS_AD0_LOW

#define MPU6050_RA_XG_OFFS_TC       0x00 //[7] PWR_MODE, [6:1] XG_OFFS_TC, [0] OTP_BNK_VLD
#define MPU6050_RA_YG_OFFS_TC       0x01 //[7] PWR_MODE, [6:1] YG_OFFS_TC, [0] OTP_BNK_VLD
#define MPU6050_RA_ZG_OFFS_TC       0x02 //[7] PWR_MODE, [6:1] ZG_OFFS_TC, [0] OTP_BNK_VLD
#define MPU6050_RA_X_FINE_GAIN      0x03 //[7:0] X_FINE_GAIN
#define MPU6050_RA_Y_FINE_GAIN      0x04 //[7:0] Y_FINE_GAIN
#define MPU6050_RA_Z_FINE_GAIN      0x05 //[7:0] Z_FINE_GAIN
#define MPU6050_RA_XA_OFFS_H        0x06 //[15:0] XA_OFFS
#define MPU6050_RA_XA_OFFS_L_TC     0x07
#define MPU6050_RA_YA_OFFS_H        0x08 //[15:0] YA_OFFS
#define MPU6050_RA_YA_OFFS_L_TC     0x09
#define MPU6050_RA_ZA_OFFS_H        0x0A //[15:0] ZA_OFFS
#define MPU6050_RA_ZA_OFFS_L_TC     0x0B
#define MPU6050_RA_SELF_TEST_X      0x0D //[7:5] XA_TEST[4-2], [4:0] XG_TEST[4-0]
#define MPU6050_RA_SELF_TEST_Y      0x0E //[7:5] YA_TEST[4-2], [4:0] YG_TEST[4-0]
#define MPU6050_RA_SELF_TEST_Z      0x0F //[7:5] ZA_TEST[4-2], [4:0] ZG_TEST[4-0]
#define MPU6050_RA_SELF_TEST_A      0x10 //[5:4] XA_TEST[1-0], [3:2] YA_TEST[1-0], [1:0] ZA_TEST[1-0]
#define MPU6050_RA_XG_OFFS_USRH     0x13 //[15:0] XG_OFFS_USR
#define MPU6050_RA_XG_OFFS_USRL     0x14
#define MPU6050_RA_YG_OFFS_USRH     0x15 //[15:0] YG_OFFS_USR
#define MPU6050_RA_YG_OFFS_USRL     0x16
#define MPU6050_RA_ZG_OFFS_USRH     0x17 //[15:0] ZG_OFFS_USR
#define MPU6050_RA_ZG_OFFS_USRL     0x18
#define MPU6050_RA_SMPLRT_DIV       0x19
#define MPU6050_RA_CONFIG           0x1A
#define MPU6050_RA_GYRO_CONFIG      0x1B
#define MPU6050_RA_ACCEL_CONFIG     0x1C
#define MPU6050_RA_FF_THR           0x1D
#define MPU6050_RA_FF_DUR           0x1E
#define MPU6050_RA_MOT_THR          0x1F
#define MPU6050_RA_MOT_DUR          0x20
#define MPU6050_RA_ZRMOT_THR        0x21
#define MPU6050_RA_ZRMOT_DUR        0x22
#define MPU6050_RA_FIFO_EN          0x23
#define MPU6050_RA_I2C_MST_CTRL     0x24
#define MPU6050_RA_I2C_SLV0_ADDR    0x25
#define MPU6050_RA_I2C_SLV0_REG     0x26
#define MPU6050_RA_I2C_SLV0_CTRL    0x27
#define MPU6050_RA_I2C_SLV1_ADDR    0x28
#define MPU6050_RA_I2C_SLV1_REG     0x29
#define MPU6050_RA_I2C_SLV1_CTRL    0x2A
#define MPU6050_RA_I2C_SLV2_ADDR    0x2B
#define MPU6050_RA_I2C_SLV2_REG     0x2C
#define MPU6050_RA_I2C_SLV2_CTRL    0x2D
#define MPU6050_RA_I2C_SLV3_ADDR    0x2E
#define MPU6050_RA_I2C_SLV3_REG     0x2F
#define MPU6050_RA_I2C_SLV3_CTRL    0x30
#define MPU6050_RA_I2C_SLV4_ADDR    0x31
#define MPU6050_RA_I2C_SLV4_REG     0x32
#define MPU6050_RA_I2C_SLV4_DO      0x33
#define MPU6050_RA_I2C_SLV4_CTRL    0x34
#define MPU6050_RA_I2C_SLV4_DI      0x35
#define MPU6050_RA_I2C_MST_STATUS   0x36
#define MPU6050_RA_INT_PIN_CFG      0x37
#define MPU6050_RA_INT_ENABLE       0x38
#define MPU6050_RA_DMP_INT_STATUS   0x39
#define MPU6050_RA_INT_STATUS       0x3A
#define MPU6050_RA_ACCEL_XOUT_H     0x3B
#define MPU6050_RA_ACCEL_XOUT_L     0x3C
#define MPU6050_RA_ACCEL_YOUT_H     0x3D
#define MPU6050_RA_ACCEL_YOUT_L     0x3E
#define MPU6050_RA_ACCEL_ZOUT_H     0x3F
#define MPU6050_RA_ACCEL_ZOUT_L     0x40
#define MPU6050_RA_TEMP_OUT_H       0x41
#define MPU6050_RA_TEMP_OUT_L       0x42
#define MPU6050_RA_GYRO_XOUT_H      0x43
#define MPU6050_RA_GYRO_XOUT_L      0x44
#define MPU6050_RA_GYRO_YOUT_H      0x45
#define MPU6050_RA_GYRO_YOUT_L      0x46
#define MPU6050_RA_GYRO_ZOUT_H      0x47
#define MPU6050_RA_GYRO_ZOUT_L      0x48
#define MPU6050_RA_EXT_SENS_DATA_00 0x49
#define MPU6050_RA_EXT_SENS_DATA_01 0x4A
#define MPU6050_RA_EXT_SENS_DATA_02 0x4B
#define MPU6050_RA_EXT_SENS_DATA_03 0x4C
#define MPU6050_RA_EXT_SENS_DATA_04 0x4D
#define MPU6050_RA_EXT_SENS_DATA_05 0x4E
#define MPU6050_RA_EXT_SENS_DATA_06 0x4F
#define MPU6050_RA_EXT_SENS_DATA_07 0x50
#define MPU6050_RA_EXT_SENS_DATA_08 0x51
#define MPU6050_RA_EXT_SENS_DATA_09 0x52
#define MPU6050_RA_EXT_SENS_DATA_10 0x53
#define MPU6050_RA_EXT_SENS_DATA_11 0x54
#define MPU6050_RA_EXT_SENS_DATA_12 0x55
#define MPU6050_RA_EXT_SENS_DATA_13 0x56
#define MPU6050_RA_EXT_SENS_DATA_14 0x57
#define MPU6050_RA_EXT_SENS_DATA_15 0x58
#define MPU6050_RA_EXT_SENS_DATA_16 0x59
#define MPU6050_RA_EXT_SENS_DATA_17 0x5A
#define MPU6050_RA_EXT_SENS_DATA_18 0x5B
#define MPU6050_RA_EXT_SENS_DATA_19 0x5C
#define MPU6050_RA_EXT_SENS_DATA_20 0x5D
#define MPU6050_RA_EXT_SENS_DATA_21 0x5E
#define MPU6050_RA_EXT_SENS_DATA_22 0x5F
#define MPU6050_RA_EXT_SENS_DATA_23 0x60
#define MPU6050_RA_MOT_DETECT_STATUS    0x61
#define MPU6050_RA_I2C_SLV0_DO      0x63
#define MPU6050_RA_I2C_SLV1_DO      0x64
#define MPU6050_RA_I2C_SLV2_DO      0x65
#define MPU6050_RA_I2C_SLV3_DO      0x66
#define MPU6050_RA_I2C_MST_DELAY_CTRL   0x67
#define MPU6050_RA_SIGNAL_PATH_RESET    0x68
#define MPU6050_RA_MOT_DETECT_CTRL      0x69
#define MPU6050_RA_USER_CTRL        0x6A
#define MPU6050_RA_PWR_MGMT_1       0x6B
#define MPU6050_RA_PWR_MGMT_2       0x6C
#define MPU6050_RA_BANK_SEL         0x6D
#define MPU6050_RA_MEM_START_ADDR   0x6E
#define MPU6050_RA_MEM_R_W          0x6F
#define MPU6050_RA_DMP_CFG_1        0x70
#define MPU6050_RA_DMP_CFG_2        0x71
#define MPU6050_RA_FIFO_COUNTH      0x72
#define MPU6050_RA_FIFO_COUNTL      0x73
#define MPU6050_RA_FIFO_R_W         0x74
#define MPU6050_RA_WHO_AM_I         0x75

#define MPU6050_SELF_TEST_XA_1_BIT     0x07
#define MPU6050_SELF_TEST_XA_1_LENGTH  0x03
#define MPU6050_SELF_TEST_XA_2_BIT     0x05
#define MPU6050_SELF_TEST_XA_2_LENGTH  0x02
#define MPU6050_SELF_TEST_YA_1_BIT     0x07
#define MPU6050_SELF_TEST_YA_1_LENGTH  0x03
#define MPU6050_SELF_TEST_YA_2_BIT     0x03
#define MPU6050_SELF_TEST_YA_2_LENGTH  0x02
#define MPU6050_SELF_TEST_ZA_1_BIT     0x07
#define MPU6050_SELF_TEST_ZA_1_LENGTH  0x03
#define MPU6050_SELF_TEST_ZA_2_BIT     0x01
#define MPU6050_SELF_TEST_ZA_2_LENGTH  0x02

#define MPU6050_SELF_TEST_XG_1_BIT     0x04
#define MPU6050_SELF_TEST_XG_1_LENGTH  0x05
#define MPU6050_SELF_TEST_YG_1_BIT     0x04
#define MPU6050_SELF_TEST_YG_1_LENGTH  0x05
#define MPU6050_SELF_TEST_ZG_1_BIT     0x04
#define MPU6050_SELF_TEST_ZG_1_LENGTH  0x05

#define MPU6050_TC_PWR_MODE_BIT     7
#define MPU6050_TC_OFFSET_BIT       6
#define MPU6050_TC_OFFSET_LENGTH    6
#define MPU6050_TC_OTP_BNK_VLD_BIT  0

#define MPU6050_VDDIO_LEVEL_VLOGIC  0
#define MPU6050_VDDIO_LEVEL_VDD     1

#define MPU6050_CFG_EXT_SYNC_SET_BIT    5
#define MPU6050_CFG_EXT_SYNC_SET_LENGTH 3
#define MPU6050_CFG_DLPF_CFG_BIT    2
#define MPU6050_CFG_DLPF_CFG_LENGTH 3

#define MPU6050_EXT_SYNC_DISABLED       0x0
#define MPU6050_EXT_SYNC_TEMP_OUT_L     0x1
#define MPU6050_EXT_SYNC_GYRO_XOUT_L    0x2
#define MPU6050_EXT_SYNC_GYRO_YOUT_L    0x3
#define MPU6050_EXT_SYNC_GYRO_ZOUT_L    0x4
#define MPU6050_EXT_SYNC_ACCEL_XOUT_L   0x5
#define MPU6050_EXT_SYNC_ACCEL_YOUT_L   0x6
#define MPU6050_EXT_SYNC_ACCEL_ZOUT_L   0x7

#define MPU6050_DLPF_BW_256         0x00
#define MPU6050_DLPF_BW_188         0x01
#define MPU6050_DLPF_BW_98          0x02
#define MPU6050_DLPF_BW_42          0x03
#define MPU6050_DLPF_BW_20          0x04
#define MPU6050_DLPF_BW_10          0x05
#define MPU6050_DLPF_BW_5           0x06

#define MPU6050_GCONFIG_FS_SEL_BIT      4
#define MPU6050_GCONFIG_FS_SEL_LENGTH   2

#define MPU6050_GYRO_FS_250         0x00
#define MPU6050_GYRO_FS_500         0x01
#define MPU6050_GYRO_FS_1000        0x02
#define MPU6050_GYRO_FS_2000        0x03

#define MPU6050_ACONFIG_XA_ST_BIT           7
#define MPU6050_ACONFIG_YA_ST_BIT           6
#define MPU6050_ACONFIG_ZA_ST_BIT           5
#define MPU6050_ACONFIG_AFS_SEL_BIT         4
#define MPU6050_ACONFIG_AFS_SEL_LENGTH      2
#define MPU6050_ACONFIG_ACCEL_HPF_BIT       2
#define MPU6050_ACONFIG_ACCEL_HPF_LENGTH    3

#define MPU6050_ACCEL_FS_2          0x00
#define MPU6050_ACCEL_FS_4          0x01
#define MPU6050_ACCEL_FS_8          0x02
#define MPU6050_ACCEL_FS_16         0x03

#define MPU6050_DHPF_RESET          0x00
#define MPU6050_DHPF_5              0x01
#define MPU6050_DHPF_2P5            0x02
#define MPU6050_DHPF_1P25           0x03
#define MPU6050_DHPF_0P63           0x04
#define MPU6050_DHPF_HOLD           0x07

#define MPU6050_TEMP_FIFO_EN_BIT    7
#define MPU6050_XG_FIFO_EN_BIT      6
#define MPU6050_YG_FIFO_EN_BIT      5
#define MPU6050_ZG_FIFO_EN_BIT      4
#define MPU6050_ACCEL_FIFO_EN_BIT   3
#define MPU6050_SLV2_FIFO_EN_BIT    2
#define MPU6050_SLV1_FIFO_EN_BIT    1
#define MPU6050_SLV0_FIFO_EN_BIT    0

#define MPU6050_MULT_MST_EN_BIT     7
#define MPU6050_WAIT_FOR_ES_BIT     6
#define MPU6050_SLV_3_FIFO_EN_BIT   5
#define MPU6050_I2C_MST_P_NSR_BIT   4
#define MPU6050_I2C_MST_CLK_BIT     3
#define MPU6050_I2C_MST_CLK_LENGTH  4

#define MPU6050_CLOCK_DIV_348       0x0
#define MPU6050_CLOCK_DIV_333       0x1
#define MPU6050_CLOCK_DIV_320       0x2
#define MPU6050_CLOCK_DIV_308       0x3
#define MPU6050_CLOCK_DIV_296       0x4
#define MPU6050_CLOCK_DIV_286       0x5
#define MPU6050_CLOCK_DIV_276       0x6
#define MPU6050_CLOCK_DIV_267       0x7
#define MPU6050_CLOCK_DIV_258       0x8
#define MPU6050_CLOCK_DIV_500       0x9
#define MPU6050_CLOCK_DIV_471       0xA
#define MPU6050_CLOCK_DIV_444       0xB
#define MPU6050_CLOCK_DIV_421       0xC
#define MPU6050_CLOCK_DIV_400       0xD
#define MPU6050_CLOCK_DIV_381       0xE
#define MPU6050_CLOCK_DIV_364       0xF

#define MPU6050_I2C_SLV_RW_BIT      7
#define MPU6050_I2C_SLV_ADDR_BIT    6
#define MPU6050_I2C_SLV_ADDR_LENGTH 7
#define MPU6050_I2C_SLV_EN_BIT      7
#define MPU6050_I2C_SLV_BYTE_SW_BIT 6
#define MPU6050_I2C_SLV_REG_DIS_BIT 5
#define MPU6050_I2C_SLV_GRP_BIT     4
#define MPU6050_I2C_SLV_LEN_BIT     3
#define MPU6050_I2C_SLV_LEN_LENGTH  4

#define MPU6050_I2C_SLV4_RW_BIT         7
#define MPU6050_I2C_SLV4_ADDR_BIT       6
#define MPU6050_I2C_SLV4_ADDR_LENGTH    7
#define MPU6050_I2C_SLV4_EN_BIT         7
#define MPU6050_I2C_SLV4_INT_EN_BIT     6
#define MPU6050_I2C_SLV4_REG_DIS_BIT    5
#define MPU6050_I2C_SLV4_MST_DLY_BIT    4
#define MPU6050_I2C_SLV4_MST_DLY_LENGTH 5

#define MPU6050_MST_PASS_THROUGH_BIT    7
#define MPU6050_MST_I2C_SLV4_DONE_BIT   6
#define MPU6050_MST_I2C_LOST_ARB_BIT    5
#define MPU6050_MST_I2C_SLV4_NACK_BIT   4
#define MPU6050_MST_I2C_SLV3_NACK_BIT   3
#define MPU6050_MST_I2C_SLV2_NACK_BIT   2
#define MPU6050_MST_I2C_SLV1_NACK_BIT   1
#define MPU6050_MST_I2C_SLV0_NACK_BIT   0

#define MPU6050_INTCFG_INT_LEVEL_BIT        7
#define MPU6050_INTCFG_INT_OPEN_BIT         6
#define MPU6050_INTCFG_LATCH_INT_EN_BIT     5
#define MPU6050_INTCFG_INT_RD_CLEAR_BIT     4
#define MPU6050_INTCFG_FSYNC_INT_LEVEL_BIT  3
#define MPU6050_INTCFG_FSYNC_INT_EN_BIT     2
#define MPU6050_INTCFG_I2C_BYPASS_EN_BIT    1
#define MPU6050_INTCFG_CLKOUT_EN_BIT        0

#define MPU6050_INTMODE_ACTIVEHIGH  0x00
#define MPU6050_INTMODE_ACTIVELOW   0x01

#define MPU6050_INTDRV_PUSHPULL     0x00
#define MPU6050_INTDRV_OPENDRAIN    0x01

#define MPU6050_INTLATCH_50USPULSE  0x00
#define MPU6050_INTLATCH_WAITCLEAR  0x01

#define MPU6050_INTCLEAR_STATUSREAD 0x00
#define MPU6050_INTCLEAR_ANYREAD    0x01

#define MPU6050_INTERRUPT_FF_BIT            7
#define MPU6050_INTERRUPT_MOT_BIT           6
#define MPU6050_INTERRUPT_ZMOT_BIT          5
#define MPU6050_INTERRUPT_FIFO_OFLOW_BIT    4
#define MPU6050_INTERRUPT_I2C_MST_INT_BIT   3
#define MPU6050_INTERRUPT_PLL_RDY_INT_BIT   2
#define MPU6050_INTERRUPT_DMP_INT_BIT       1
#define MPU6050_INTERRUPT_DATA_RDY_BIT      0

// TODO: figure out what these actually do
// UMPL source code is not very obivous
#define MPU6050_DMPINT_5_BIT            5
#define MPU6050_DMPINT_4_BIT            4
#define MPU6050_DMPINT_3_BIT            3
#define MPU6050_DMPINT_2_BIT            2
#define MPU6050_DMPINT_1_BIT            1
#define MPU6050_DMPINT_0_BIT            0

#define MPU6050_MOTION_MOT_XNEG_BIT     7
#define MPU6050_MOTION_MOT_XPOS_BIT     6
#define MPU6050_MOTION_MOT_YNEG_BIT     5
#define MPU6050_MOTION_MOT_YPOS_BIT     4
#define MPU6050_MOTION_MOT_ZNEG_BIT     3
#define MPU6050_MOTION_MOT_ZPOS_BIT     2
#define MPU6050_MOTION_MOT_ZRMOT_BIT    0

#define MPU6050_DELAYCTRL_DELAY_ES_SHADOW_BIT   7
#define MPU6050_DELAYCTRL_I2C_SLV4_DLY_EN_BIT   4
#define MPU6050_DELAYCTRL_I2C_SLV3_DLY_EN_BIT   3
#define MPU6050_DELAYCTRL_I2C_SLV2_DLY_EN_BIT   2
#define MPU6050_DELAYCTRL_I2C_SLV1_DLY_EN_BIT   1
#define MPU6050_DELAYCTRL_I2C_SLV0_DLY_EN_BIT   0

#define MPU6050_PATHRESET_GYRO_RESET_BIT    2
#define MPU6050_PATHRESET_ACCEL_RESET_BIT   1
#define MPU6050_PATHRESET_TEMP_RESET_BIT    0

#define MPU6050_DETECT_ACCEL_ON_DELAY_BIT       5
#define MPU6050_DETECT_ACCEL_ON_DELAY_LENGTH    2
#define MPU6050_DETECT_FF_COUNT_BIT             3
#define MPU6050_DETECT_FF_COUNT_LENGTH          2
#define MPU6050_DETECT_MOT_COUNT_BIT            1
#define MPU6050_DETECT_MOT_COUNT_LENGTH         2

#define MPU6050_DETECT_DECREMENT_RESET  0x0
#define MPU6050_DETECT_DECREMENT_1      0x1
#define MPU6050_DETECT_DECREMENT_2      0x2
#define MPU6050_DETECT_DECREMENT_4      0x3

#define MPU6050_USERCTRL_DMP_EN_BIT             7
#define MPU6050_USERCTRL_FIFO_EN_BIT            6
#define MPU6050_USERCTRL_I2C_MST_EN_BIT         5
#define MPU6050_USERCTRL_I2C_IF_DIS_BIT         4
#define MPU6050_USERCTRL_DMP_RESET_BIT          3
#define MPU6050_USERCTRL_FIFO_RESET_BIT         2
#define MPU6050_USERCTRL_I2C_MST_RESET_BIT      1
#define MPU6050_USERCTRL_SIG_COND_RESET_BIT     0

#define MPU6050_PWR1_DEVICE_RESET_BIT   7
#define MPU6050_PWR1_SLEEP_BIT          6
#define MPU6050_PWR1_CYCLE_BIT          5
#define MPU6050_PWR1_TEMP_DIS_BIT       3
#define MPU6050_PWR1_CLKSEL_BIT         2
#define MPU6050_PWR1_CLKSEL_LENGTH      3

#define MPU6050_CLOCK_INTERNAL          0x00
#define MPU6050_CLOCK_PLL_XGYRO         0x01
#define MPU6050_CLOCK_PLL_YGYRO         0x02
#define MPU6050_CLOCK_PLL_ZGYRO         0x03
#define MPU6050_CLOCK_PLL_EXT32K        0x04
#define MPU6050_CLOCK_PLL_EXT19M        0x05
#define MPU6050_CLOCK_KEEP_RESET        0x07

#define MPU6050_PWR2_LP_WAKE_CTRL_BIT       7
#define MPU6050_PWR2_LP_WAKE_CTRL_LENGTH    2
#define MPU6050_PWR2_STBY_XA_BIT            5
#define MPU6050_PWR2_STBY_YA_BIT            4
#define MPU6050_PWR2_STBY_ZA_BIT            3
#define MPU6050_PWR2_STBY_XG_BIT            2
#define MPU6050_PWR2_STBY_YG_BIT            1
#define MPU6050_PWR2_STBY_ZG_BIT            0

#define MPU6050_WAKE_FREQ_1P25      0x0
#define MPU6050_WAKE_FREQ_2P5       0x1
#define MPU6050_WAKE_FREQ_5         0x2
#define MPU6050_WAKE_FREQ_10        0x3

#define MPU6050_BANKSEL_PRFTCH_EN_BIT       6
#define MPU6050_BANKSEL_CFG_USER_BANK_BIT   5
#define MPU6050_BANKSEL_MEM_SEL_BIT         4
#define MPU6050_BANKSEL_MEM_SEL_LENGTH      5

#define MPU6050_WHO_AM_I_BIT        6
#define MPU6050_WHO_AM_I_LENGTH     6

#define MPU6050_DMP_MEMORY_BANKS        8
#define MPU6050_DMP_MEMORY_BANK_SIZE    256
#define MPU6050_DMP_MEMORY_CHUNK_SIZE   16

#define MPU6050_FIFO_DEFAULT_TIMEOUT 11000

    struct mpu6050_config {
        uint8_t sample_rate_config;
        uint8_t config_reg;
        uint8_t gyro_config;
        uint8_t accel_config;
        uint8_t fifo_config;
        uint8_t interrupt_pin_config;
        uint8_t interrupt_config;
        uint8_t user_control;
        uint8_t pwr_mgmt_1;
        uint8_t pwr_mgmt_2;
    };

/**
 * @brief MPU6050 driver
 */
class Mpu6050 {

    using I2C_1DeviceName = DeviceString<'I', '2', 'C', '_', '1'>; 
    constexpr static uint8_t mpu6050_id = 0x68; // Part ID
    uint8_t tx_buf[250] = {};

public:
    /**
     * @brief Construct a new Mpu6050 object
     */
    Mpu6050(UsbCommHandler &controller);

    /**
     * @brief Initialization function. Used to perform actual initialization. Because of software stack initialization
     * could not be done in constructor
     * @return Status, 0 for no errors
     */
    int Initialize();    

    /**
     * @brief Configure Mpu6050 device
     * 
     * @param config Configuration details
     * @return Status, 0 for no errors
     */
    int Configure(mpu6050_config config);

    /**
     * @brief Start taking Accel and Gyro samples
     */
    void StartSampling();    

    /**
     * @brief Stop taking Accel and Gyro samples
     */
    void StopSampling();

    /**
     * @brief Get Mpu6050 Die Temperature.
     */
    void GetDieTemperature();    

    /**
     * @brief Handle Mpu6050 Interrupt. Figure out interrupt reason and take the appropriate action
     */
    void HandleInterrupt(); 

    /**
     * @brief Check if Mpu6050 device is connected to I2C bus
     */
    bool IsOnI2cBus(); 

private:
    /**
     * @brief Reset Mpu6050 device
     */
    void Reset();

    /**
     * @brief Shutdown Mpu6050 device
     */
    void Shutdown();

    /**
     * @brief Wakeup Mpu6050 device
     */
    void Wakeup();
    
    /**
     * @brief Read Temperature Registers
     */
    void TemperatureRead();
    uint8_t sample_cnt;
    uint8_t packet_cnt;
    std::atomic<bool> mpu6050_is_on_i2c_bus_; ///< Device status
    I2CTransport<I2C_1DeviceName, MPU6050_DEFAULT_ADDRESS> transport; ///< I2C transport for device
    UsbCommHandler &serialHandler; ///< USB communication controller

};
```
